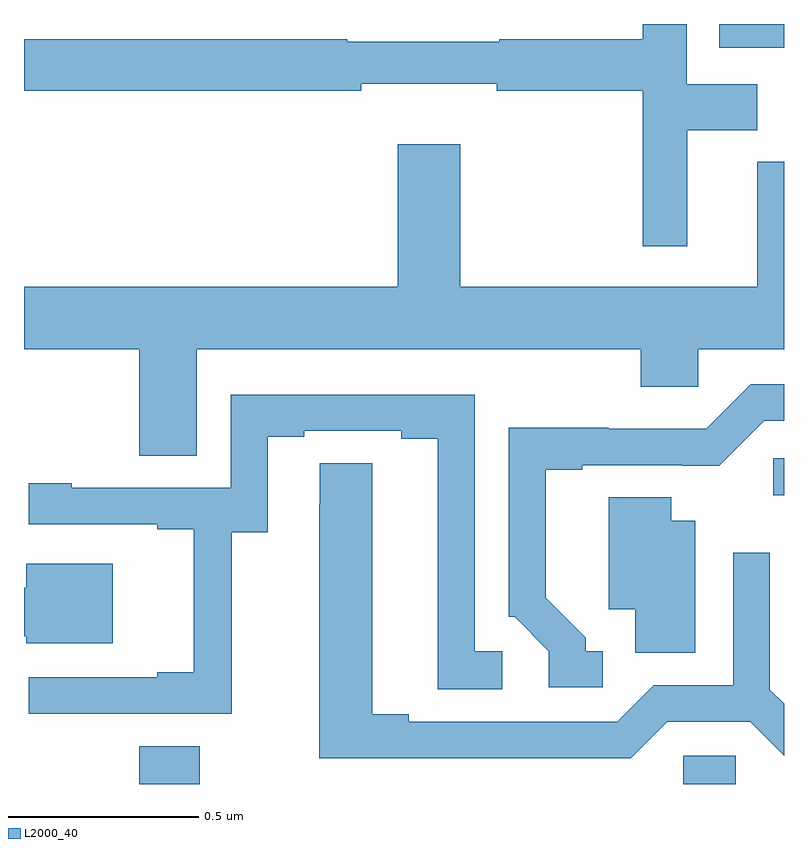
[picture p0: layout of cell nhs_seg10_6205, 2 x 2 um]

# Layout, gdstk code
import gdstk
lib = gdstk.Library(unit=1e-6, precision=1e-09)
def R(c, l, rs):  # rectangles x0, y0, x1, y1
    for r in rs: c.add(gdstk.rectangle(r[:2], r[2:], *l))
def P(c, l, *ps):  # polygons
    for p in ps: c.add(gdstk.Polygon(p, *l))
L2000_40 = (2000, 40)

nhs_seg10_6205 = lib.new_cell('nhs_seg10_6205')
R(nhs_seg10_6205, L2000_40, [(188.303,1304.5,188.463,1304.6), (189.735,1304.5,189.873,1304.574), (189.972,1305.26,190,1305.357), (189.829,1306.437,190,1306.5)])
P(nhs_seg10_6205, L2000_40, [(189.746,1306.22),(189.929,1306.22),(189.929,1306.342),(189.744,1306.342),(189.744,1306.5),(189.628,1306.5),(189.628,1306.46),(189.251,1306.46),(189.251,1306.453),(188.851,1306.453),(188.851,1306.46),(188,1306.46),(188,1306.324),(188.888,1306.324),(188.888,1306.343),(189.244,1306.343),(189.244,1306.324),(189.628,1306.324),(189.628,1305.915),(189.746,1305.915)],
  [(188.455,1305.644),(189.623,1305.644),(189.623,1305.546),(189.774,1305.546),(189.774,1305.644),(190,1305.644),(190,1306.138),(189.929,1306.138),(189.929,1305.808),(189.148,1305.808),(189.148,1306.183),(188.984,1306.183),(188.984,1305.808),(188,1305.808),(188,1305.644),(188.303,1305.644),(188.303,1305.364),(188.455,1305.364)],
  [(189.523,1304.85),(189.478,1304.85),(189.478,1304.885),(189.373,1304.99),(189.373,1305.327),(189.469,1305.327),(189.469,1305.339),(189.734,1305.339),(189.734,1305.338),(189.83,1305.338),(189.948,1305.456),(190,1305.456),(190,1305.552),(189.912,1305.552),(189.795,1305.435),(189.539,1305.435),(189.539,1305.437),(189.276,1305.437),(189.276,1304.94),(189.291,1304.94),(189.381,1304.85),(189.381,1304.754),(189.523,1304.754)],
  [(188.547,1305.163),(188.641,1305.163),(188.641,1305.414),(188.737,1305.414),(188.737,1305.429),(188.993,1305.429),(188.993,1305.409),(189.089,1305.409),(189.089,1304.749),(189.259,1304.749),(189.259,1304.85),(189.186,1304.85),(189.186,1305.525),(188.544,1305.525),(188.544,1305.279),(188.125,1305.279),(188.125,1305.292),(188.013,1305.292),(188.013,1305.183),(188.351,1305.183),(188.351,1305.171),(188.447,1305.171),(188.447,1304.794),(188.351,1304.794),(188.351,1304.781),(188.013,1304.781),(188.013,1304.685),(188.547,1304.685)],
  [(189.693,1304.664),(189.911,1304.664),(190,1304.575),(190,1304.711),(189.963,1304.748),(189.963,1305.109),(189.867,1305.109),(189.867,1304.76),(189.657,1304.76),(189.561,1304.664),(189.013,1304.664),(189.013,1304.684),(188.917,1304.684),(188.917,1305.344),(188.778,1305.344),(188.778,1305.236),(188.777,1305.236),(188.777,1304.568),(189.597,1304.568)],
  [(189.766,1305.193),(189.703,1305.193),(189.703,1305.254),(189.539,1305.254),(189.539,1304.96),(189.608,1304.96),(189.608,1304.845),(189.766,1304.845)],
  [(188.233,1305.079),(188.006,1305.079),(188.006,1305.017),(188,1305.017),(188,1304.889),(188.006,1304.889),(188.006,1304.87),(188.233,1304.87)])

lib.write_gds('nhs_seg10_6205.gds')
